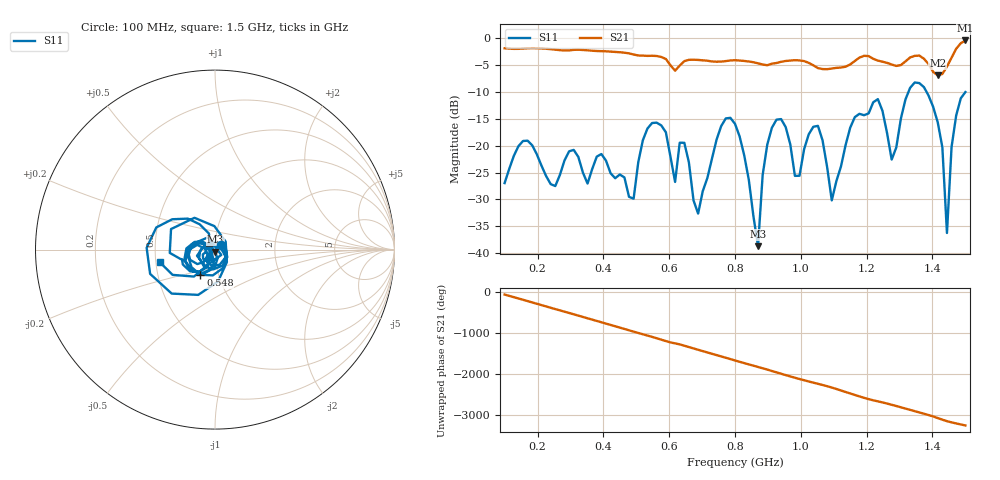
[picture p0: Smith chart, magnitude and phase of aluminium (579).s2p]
! NanoVNA-App
! Date: 2025-09-25 14:59:47
! Start: 100MHz Stop: 1,5GHz Points: 101
! S-Parameter data: F S11 S21 S12 S22
# Hz S RI R 50
!  Frequency  S11_Real  S11_Imag  S21_Real  S21_Imag  S12_Real  S12_Imag  S22_Real  S22_Imag
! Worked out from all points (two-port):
!   101 points, 100 MHz to 1.5 GHz, reference 50 ohm
!   highest |S21| = -0.47 dB at 1.5 GHz (marker M1); lowest = -6.9 dB at 1.416 GHz (marker M2)
!   |S21| within 3 dB of the highest: start of sweep to 570.8 MHz; 1.46 GHz to end of sweep (the widest 2 of 4)
!   lowest |S11| = -38.7 dB at 870 MHz (marker M3), VSWR 1.02, Z = 50.2 - j1.15 ohm
!   |S11| at or under -10 dB: start of sweep to 1.327 GHz; 1.382 GHz to end of sweep
!   S12 and S22 are empty: the file has one direction only
!   S11 on the Smith chart (normalised r, x): 100 MHz: 1.07, +0.06; 548 MHz: 0.82, -0.24; 1.5 GHz: 0.53, -0.08
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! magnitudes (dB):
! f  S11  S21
! 100 MHz  -27.0  -1.9
! 156 MHz  -19.1  -2.0
! 338 MHz  -25.0  -2.2
! 492 MHz  -29.8  -3.1
! 548 MHz  -15.8  -3.3
! 576 MHz  -16.2  -3.5
! 618 MHz  -26.7  -6.1
! 646 MHz  -19.5  -4.3
! 688 MHz  -32.6  -4.1
! 800 MHz  -16.0  -4.1
! 870 MHz  -38.7  -4.7
! 912 MHz  -16.7  -4.8
! 996 MHz  -25.6  -4.2
! 1.038 GHz  -16.5  -5.1
! 1.094 GHz  -30.2  -5.7
! 1.234 GHz  -11.4  -4.2
! 1.276 GHz  -22.6  -4.9
! 1.346 GHz  -8.3  -3.3
! 1.416 GHz  -15.7  -6.9
! 1.444 GHz  -36.2  -5.3
! 1.458 GHz  -20.2  -3.7
! 1.5 GHz  -10.0  -0.5
